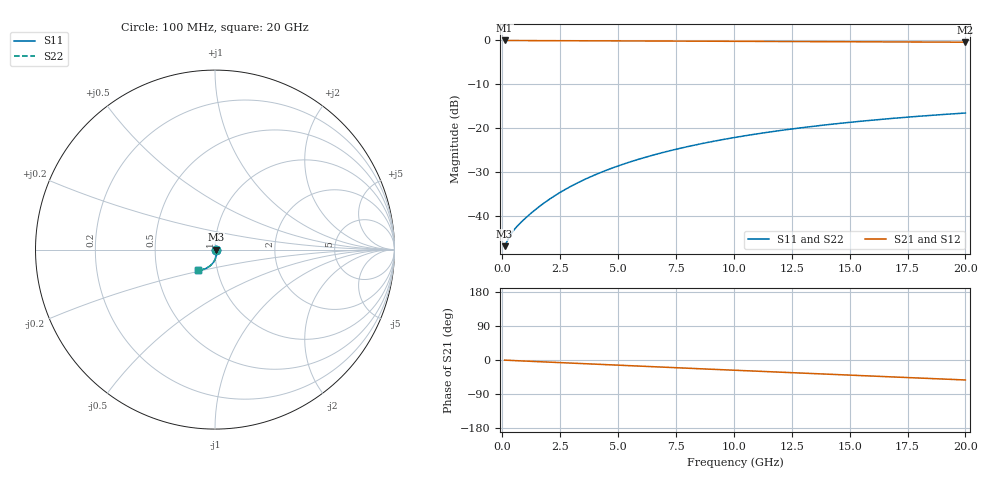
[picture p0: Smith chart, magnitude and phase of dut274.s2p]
! Touchstone file exported from HFSS 2026.1.0
!  File:  C:/ffzhzh/LocalFiles/Ansys_Project_Files/temp_train_TMRDL_274_1782985229_41620.aedt
!  Generated:  05:42:01 PM Jul  2, 2026
!  Design:  TMRDL
!  Project:  temp_train_TMRDL_274_1782985229_41620
! Variables:
!  h_bsmrdl = 2um
!  h_ox = 20um
!  h_rdl = 5um
!  h_sub = 80um
!  h_tmrdl = 4.16um
!  h_tsv = 80um
!  h_via = 3um
!  l_bsmrdl = 300um
!  l_sub = 1342.77um
!  l_tmrdl = 942.77um
!  m_sub = 200um
!  pitch = 21.25um
!  r_tsv = 6um
!  s_tmrdl = 10um
!  w_bsmrdl = 18um
!  w_sub = 500um
!  w_tmrdl = 18.68um
!  x_tsv_center1 = 952.11um
!  x_tsv_center2 = 1270.11um
!  x_tsv_center3 = 2231.56um
!  x_tsv_center4 = 2549.56um
!  x_tsv_center5 = 3511.01um
!  x_tsv_center6 = 3829.01um
# GHz S MA R 50.000000
! Terminal data exported
! Port[1] = TM_RDL1_1_T1
! Port[2] = TM_RDL1_1_T2
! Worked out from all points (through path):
!   200 points, 100 MHz to 20 GHz, reference 50 ohm
!   highest |S21| = -0.04 dB at 100 MHz (marker M1); lowest = -0.4 dB at 20 GHz (marker M2)
!   group delay of S21, straight-line fit = 7.29 ps
!   lowest |S11| = -46.7 dB at 100 MHz (marker M3), VSWR 1.01, Z = 50.5 + j0.0299 ohm
!   |S11| at or under -10 dB: start of sweep to end of sweep
!   |S22| runs from -46.7 to -16.5 dB; largest |S21 - S12| = 1e-13
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0.1  0.004605 3.7  0.9954 -0.3  0.9954 -0.3  0.004605 3.7
! Gamma 0 0 0 0
! Port Impedance 50 0 50 0
0.3  0.005843 -0.5  0.9941 -0.9  0.9941 -0.9  0.005843 -0.5
0.4  0.006455 -5.8  0.9936 -1.2  0.9936 -1.2  0.006454 -5.8
0.5  0.007012 -11.3  0.9931 -1.5  0.9931 -1.5  0.007011 -11.3
0.8  0.008548 -26.3  0.9922 -2.3  0.9922 -2.3  0.008546 -26.3
1.3  0.01122 -43.5  0.9914 -3.7  0.9914 -3.7  0.01122 -43.5
1.8  0.01421 -54.3  0.9907 -5.1  0.9907 -5.1  0.0142 -54.3
2.3  0.01744 -61.6  0.9899 -6.4  0.9899 -6.4  0.01743 -61.6
2.9  0.02157 -67.7  0.9889 -8.1  0.9889 -8.1  0.02156 -67.8
3.5  0.02591 -72.4  0.9878 -9.7  0.9878 -9.7  0.0259 -72.4
4.2  0.0312 -76.6  0.9863 -11.6  0.9863 -11.6  0.03118 -76.7
5  0.03747 -80.7  0.9846 -13.8  0.9846 -13.8  0.03744 -80.8
5.9  0.04473 -84.8  0.9826 -16.2  0.9826 -16.2  0.04469 -84.9
6.8  0.05213 -88.5  0.9805 -18.5  0.9805 -18.5  0.05209 -88.6
7.6  0.05876 -91.5  0.9787 -20.7  0.9787 -20.7  0.05871 -91.7
8.4  0.06541 -94.5  0.9769 -22.8  0.9769 -22.8  0.06535 -94.6
10.1  0.07939 -100.4  0.9731 -27.2  0.9731 -27.2  0.07932 -100.6
11.7  0.09223 -105.7  0.9696 -31.4  0.9696 -31.4  0.09214 -105.9
13.4  0.1054 -111.1  0.9658 -35.8  0.9658 -35.8  0.1052 -111.3
15  0.1171 -116.0  0.9623 -39.9  0.9623 -39.9  0.117 -116.2
16.7  0.1289 -121.0  0.9586 -44.3  0.9586 -44.3  0.1288 -121.3
20  0.1494 -130.4  0.9514 -52.7  0.9514 -52.7  0.1492 -130.7
